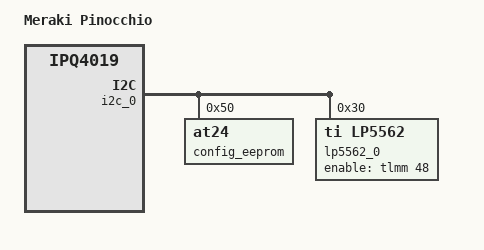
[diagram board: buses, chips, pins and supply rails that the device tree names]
/* Copyright (c) 2015, The Linux Foundation. All rights reserved.
 *
 * Permission to use, copy, modify, and/or distribute this software for any
 * purpose with or without fee is hereby granted, provided that the above
 * copyright notice and this permission notice appear in all copies.
 *
 * THE SOFTWARE IS PROVIDED "AS IS" AND THE AUTHOR DISCLAIMS ALL WARRANTIES
 * WITH REGARD TO THIS SOFTWARE INCLUDING ALL IMPLIED WARRANTIES OF
 * MERCHANTABILITY AND FITNESS. IN NO EVENT SHALL THE AUTHOR BE LIABLE FOR
 * ANY SPECIAL, DIRECT, INDIRECT, OR CONSEQUENTIAL DAMAGES OR ANY DAMAGES
 * WHATSOEVER RESULTING FROM LOSS OF USE, DATA OR PROFITS, WHETHER IN AN
 * ACTION OF CONTRACT, NEGLIGENCE OR OTHER TORTIOUS ACTION, ARISING OUT OF
 * OR IN CONNECTION WITH THE USE OR PERFORMANCE OF THIS SOFTWARE.
 *
 */

#include "mothership.dtsi"

/ {
	model = "Meraki Pinocchio";
	compatible = "qcom,ipq4019","meraki,pinocchio";

	soc {
		i2c_1: i2c@78b8000 {
		   lp5562 {
			   status = "disabled";
	      };
		};

		i2c_0: i2c@78b7000 { /* BLSP1 QUP2 */
			config_eeprom: at24@50 {
				reg = <0x50>;
			};

			lp5562_0 {
				compatible = "ti,lp5562";
				clock-mode = /bits/8 <2>;
				reg = <0x30>;
				enable-gpio = <&tlmm 48 GPIO_ACTIVE_HIGH>;

				chan0 {
					 chan-name = "tricolor0:red";
					 led-cur = /bits/ 8 <0x20>;
					 max-cur = /bits/ 8 <0x60>;
				};

				chan1 {
					 chan-name = "tricolor0:green";
					 led-cur = /bits/ 8 <0x20>;
					 max-cur = /bits/ 8 <0x60>;
				};

				chan2 {
					 chan-name = "tricolor0:blue";
					 led-cur = /bits/ 8 <0x20>;
					 max-cur = /bits/ 8 <0x60>;
				};

				chan3 {
					 chan-name = "power:white";
					 led-cur = /bits/ 8 <0x20>;
					 max-cur = /bits/ 8 <0x60>;
				};
			};
		};

		pcie0: pci@40000000 {
			status = "disabled";
		};

		wifi0: wifi@a000000 {
			status = "disabled";
		};

		wifi1: wifi@a800000 {
			status = "disabled";
		};

		edma@c080000 {
			qcom,self_test;
			qcom,num-gmac = <2>;
			gmac0 {
				qcom,phy-mdio-addr = <3>;
				vlan-tag = <0 0x10>;
				qcom,poll_required = <1>;
			};
			gmac1 {
				qcom,phy-mdio-addr = <4>;
				vlan-tag = <0 0x20>;
				qcom,poll_required = <1>;
			};
		};
	};
};
